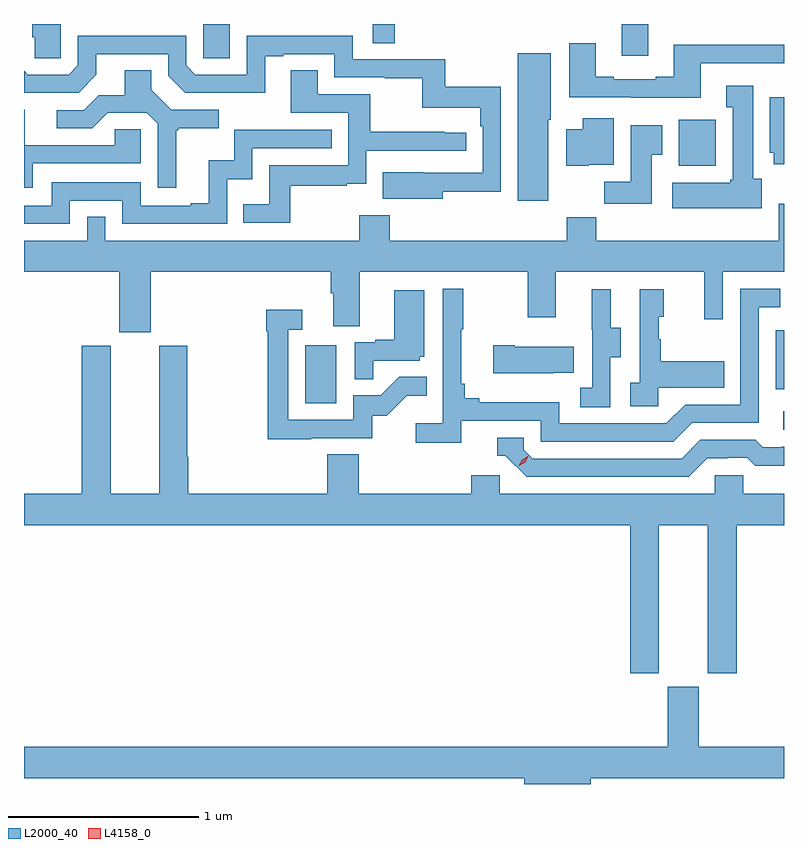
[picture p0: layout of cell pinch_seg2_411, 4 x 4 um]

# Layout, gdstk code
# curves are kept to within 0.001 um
import gdstk
lib = gdstk.Library(unit=1e-6, precision=1e-09)
def R(c, l, rs):  # rectangles x0, y0, x1, y1
    for r in rs: c.add(gdstk.rectangle(r[:2], r[2:], *l))
def P(c, l, *ps):  # polygons
    for p in ps: c.add(gdstk.Polygon(p, *l))
L2000_40 = (2000, 40)
L4158_0 = (4158, 0)

pinch_seg2_411 = lib.new_cell('pinch_seg2_411')
R(pinch_seg2_411, L2000_40, [(1015.653,610.842,1015.658,610.938), (1013.138,610.98,1013.302,611.287), (1015.614,611.055,1015.658,611.364), (1015.103,612.23,1015.3,612.472), (1012.602,612.796,1012.741,612.977), (1014.803,612.81,1014.943,612.977), (1013.493,612.877,1013.609,612.977)])
P(pinch_seg2_411, L2000_40, [(1011.852,612.977),(1011.701,612.977),(1011.701,612.906),(1011.715,612.906),(1011.715,612.796),(1011.852,612.796)],
  [(1013.863,612.094),(1014.168,612.094),(1014.168,612.646),(1013.875,612.646),(1013.875,612.792),(1013.388,612.792),(1013.388,612.915),(1012.83,612.915),(1012.83,612.711),(1012.56,612.711),(1012.512,612.759),(1012.512,612.915),(1011.942,612.915),(1011.942,612.759),(1011.894,612.711),(1011.678,612.711),(1011.658,612.731),(1011.658,612.615),(1011.945,612.615),(1012.039,612.709),(1012.039,612.819),(1012.416,612.819),(1012.416,612.705),(1012.506,612.615),(1012.927,612.614),(1012.927,612.807),(1013.023,612.807),(1013.023,612.819),(1013.292,612.819),(1013.292,612.696),(1013.557,612.696),(1013.557,612.691),(1013.754,612.691),(1013.754,612.536),(1014.059,612.536),(1014.059,612.44),(1014.072,612.44),(1014.072,612.195),(1013.545,612.196),(1013.545,612.056),(1013.863,612.056)],
  [(1015.219,612.771),(1015.658,612.771),(1015.658,612.868),(1015.079,612.868),(1015.079,612.7),(1014.983,612.7),(1014.983,612.687),(1014.763,612.687),(1014.763,612.7),(1014.667,612.7),(1014.667,612.877),(1014.527,612.877),(1014.527,612.591),(1014.855,612.591),(1014.855,612.59),(1015.219,612.59)],
  [(1014.418,612.474),(1014.43,612.474),(1014.43,612.823),(1014.257,612.823),(1014.257,612.048),(1014.418,612.048)],
  [(1012.459,612.417),(1012.471,612.417),(1012.471,612.428),(1012.684,612.428),(1012.684,612.525),(1012.434,612.525),(1012.327,612.632),(1012.327,612.734),(1012.187,612.734),(1012.187,612.602),(1012.052,612.602),(1011.972,612.522),(1011.831,612.522),(1011.831,612.429),(1012.018,612.429),(1012.099,612.51),(1012.305,612.51),(1012.362,612.453),(1012.362,612.114),(1012.459,612.114)],
  [(1013.059,612.126),(1013.357,612.126),(1013.357,612.137),(1013.46,612.137),(1013.46,612.309),(1013.986,612.309),(1013.986,612.405),(1013.873,612.405),(1013.873,612.41),(1013.48,612.41),(1013.48,612.606),(1013.203,612.606),(1013.203,612.734),(1013.063,612.734),(1013.063,612.51),(1013.364,612.51),(1013.364,612.234),(1012.948,612.234),(1012.948,612.028),(1012.813,612.028),(1012.813,611.931),(1013.059,611.931)],
  [(1015.54,612.162),(1015.495,612.162),(1015.495,612.652),(1015.355,612.652),(1015.355,612.539),(1015.388,612.539),(1015.388,612.156),(1015.375,612.156),(1015.375,612.142),(1015.071,612.142),(1015.071,612.008),(1015.54,612.008)],
  [(1015.658,612.592),(1015.583,612.592),(1015.583,612.3),(1015.604,612.3),(1015.604,612.24),(1015.658,612.24)],
  [(1011.703,612.243),(1012.272,612.243),(1012.272,612.423),(1012.135,612.423),(1012.135,612.339),(1011.661,612.339),(1011.661,612.525),(1011.658,612.525),(1011.658,612.114),(1011.703,612.114)],
  [(1014.63,612.236),(1014.763,612.236),(1014.763,612.481),(1014.599,612.481),(1014.599,612.424),(1014.512,612.424),(1014.512,612.23),(1014.63,612.23)],
  [(1014.961,612.289),(1015.018,612.289),(1015.018,612.445),(1014.851,612.445),(1014.851,612.148),(1014.712,612.148),(1014.712,612.03),(1014.961,612.03)],
  [(1011.9,612.048),(1012.176,612.048),(1012.176,611.925),(1012.728,611.925),(1012.728,612.161),(1012.86,612.161),(1012.86,612.324),(1013.279,612.324),(1013.279,612.42),(1012.764,612.42),(1012.764,612.259),(1012.631,612.259),(1012.631,612.034),(1012.535,612.034),(1012.535,612.021),(1012.272,612.021),(1012.272,612.144),(1011.804,612.144),(1011.804,612.021),(1011.658,612.021),(1011.658,611.925),(1011.9,611.925)],
  [(1012.324,611.672),(1013.273,611.672),(1013.273,611.56),(1013.285,611.56),(1013.285,611.386),(1013.425,611.386),(1013.425,611.672),(1014.31,611.672),(1014.31,611.433),(1014.457,611.433),(1014.457,611.672),(1015.238,611.672),(1015.238,611.424),(1015.335,611.424),(1015.335,611.672),(1015.658,611.672),(1015.658,612.031),(1015.631,612.031),(1015.631,611.836),(1014.671,611.836),(1014.671,611.96),(1014.515,611.96),(1014.515,611.836),(1013.582,611.836),(1013.582,611.971),(1013.422,611.971),(1013.422,611.836),(1012.086,611.836),(1012.086,611.963),(1011.99,611.963),(1011.99,611.836),(1011.658,611.836),(1011.658,611.672),(1012.16,611.672),(1012.16,611.355),(1012.324,611.355)],
  [(1013.96,610.89),(1014.378,610.89),(1014.378,610.779),(1015.075,610.779),(1015.174,610.878),(1015.524,610.878),(1015.524,611.487),(1015.637,611.487),(1015.637,611.583),(1015.428,611.583),(1015.428,610.974),(1015.137,610.974),(1015.038,610.875),(1014.474,610.875),(1014.474,610.987),(1014.055,610.987),(1014.055,611.006),(1013.978,611.006),(1013.978,611.083),(1013.959,611.083),(1013.959,611.371),(1013.971,611.371),(1013.971,611.584),(1013.862,611.584),(1013.862,610.876),(1013.721,610.876),(1013.721,610.774),(1013.96,610.774)],
  [(1014.996,611.063),(1015.343,611.063),(1015.343,611.203),(1015.009,611.203),(1015.009,611.318),(1014.999,611.318),(1014.999,611.436),(1015.024,611.436),(1015.024,611.581),(1014.9,611.581),(1014.9,611.09),(1014.849,611.09),(1014.849,610.965),(1014.996,610.965)],
  [(1014.744,611.224),(1014.799,611.224),(1014.799,611.379),(1014.745,611.379),(1014.745,611.581),(1014.647,611.581),(1014.647,611.367),(1014.648,611.367),(1014.648,611.063),(1014.585,611.063),(1014.585,610.96),(1014.744,610.96)],
  [(1013.495,611.205),(1013.742,611.205),(1013.742,611.226),(1013.764,611.226),(1013.764,611.575),(1013.606,611.575),(1013.606,611.314),(1013.507,611.314),(1013.507,611.301),(1013.4,611.301),(1013.4,611.107),(1013.495,611.107)],
  [(1013.171,610.797),(1013.49,610.797),(1013.49,610.914),(1013.566,610.914),(1013.673,611.021),(1013.777,611.021),(1013.777,611.12),(1013.633,611.12),(1013.535,611.022),(1013.391,611.022),(1013.391,610.893),(1013.049,610.893),(1013.049,611.367),(1013.122,611.367),(1013.122,611.473),(1012.933,611.473),(1012.933,611.36),(1012.941,611.36),(1012.941,610.792),(1013.171,610.792)],
  [(1014.443,611.141),(1014.551,611.141),(1014.551,611.278),(1014.241,611.278),(1014.241,611.286),(1014.129,611.286),(1014.129,611.138),(1014.443,611.138)],
  [(1015,610.34),(1015.256,610.34),(1015.256,609.561),(1015.409,609.561),(1015.409,610.34),(1015.658,610.34),(1015.658,610.504),(1015.443,610.504),(1015.443,610.602),(1015.293,610.602),(1015.293,610.504),(1014.162,610.504),(1014.162,610.602),(1014.011,610.602),(1014.011,610.504),(1013.42,610.504),(1013.42,610.712),(1013.255,610.712),(1013.255,610.504),(1012.523,610.504),(1012.523,610.7),(1012.518,610.7),(1012.518,611.283),(1012.37,611.283),(1012.37,610.504),(1012.114,610.504),(1012.114,611.283),(1011.962,611.283),(1011.962,610.504),(1011.658,610.504),(1011.658,610.34),(1014.848,610.34),(1014.848,609.561),(1015,609.561)],
  [(1015.255,610.692),(1015.362,610.692),(1015.362,610.695),(1015.465,610.695),(1015.507,610.653),(1015.658,610.653),(1015.658,610.752),(1015.645,610.752),(1015.645,610.749),(1015.546,610.749),(1015.507,610.788),(1015.218,610.788),(1015.119,610.689),(1014.336,610.689),(1014.288,610.737),(1014.288,610.8),(1014.149,610.8),(1014.149,610.704),(1014.192,610.704),(1014.303,610.593),(1015.156,610.593)],
  [(1014.64,609.008),(1015.658,609.008),(1015.658,609.172),(1015.21,609.172),(1015.21,609.489),(1015.046,609.489),(1015.046,609.172),(1011.658,609.172),(1011.658,609.008),(1014.29,609.008),(1014.29,608.977),(1014.64,608.977)])
P(pinch_seg2_411, L4158_0, [(1014.263,610.652),(1014.263,610.652),(1014.28,610.684),(1014.311,610.704),(1014.312,610.704),(1014.312,610.703),(1014.295,610.671),(1014.264,610.652)])

lib.write_gds('pinch_seg2_411.gds')
